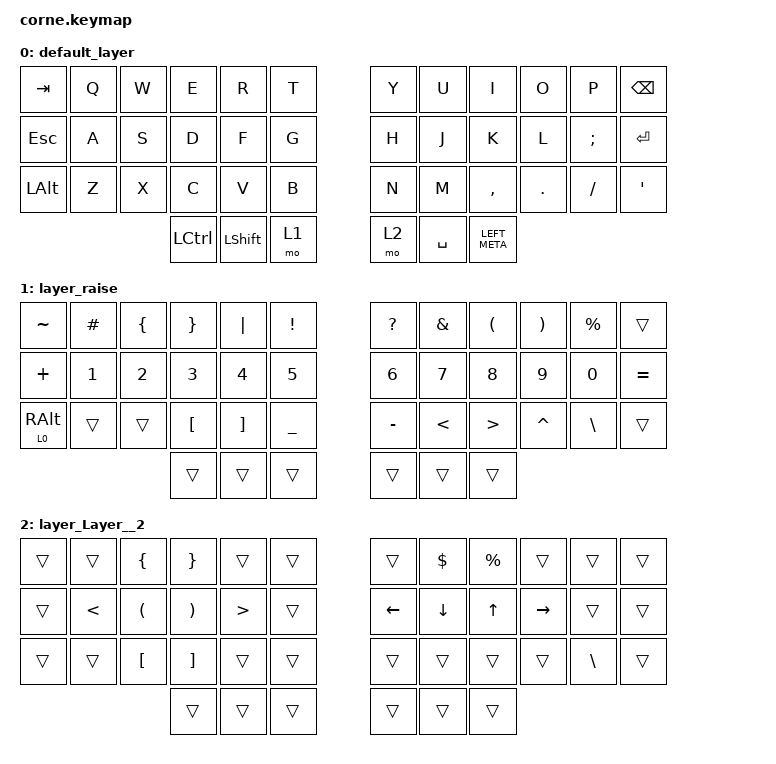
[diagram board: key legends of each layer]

/*
 * Copyright (c) 2020 The ZMK Contributors
 *
 * SPDX-License-Identifier: MIT
 */


/* THIS FILE WAS GENERATED!
 *
 * This file was generated automatically. You may or may not want to
 * edit it directly.
 */

#include <behaviors.dtsi>
#include <dt-bindings/zmk/keys.h>

/ {
    keymap {
        compatible = "zmk,keymap";


        default_layer {
            bindings = <
      &kp TAB   &kp Q   &kp W             &kp E           &kp R   &kp T            &kp Y      &kp U          &kp I    &kp O     &kp P   &kp BACKSPACE
      &kp ESC   &kp A   &kp S             &kp D           &kp F   &kp G            &kp H      &kp J          &kp K    &kp L  &kp SEMI       &kp ENTER
 &kp LEFT_ALT   &kp Z   &kp X             &kp C           &kp V   &kp B            &kp N      &kp M      &kp COMMA  &kp DOT  &kp FSLH  &kp APOSTROPHE
                               &kp LEFT_CONTROL  &kp LEFT_SHIFT   &mo 1            &mo 2  &kp SPACE  &kp LEFT_META
            >;
        };

        layer_raise {
            bindings = <
       &kp TILDE      &kp HASH      &kp LBRC      &kp RBRC      &kp PIPE  &kp EXCLAMATION            &kp QUESTION  &kp AMPERSAND          &kp LPAR      &kp RPAR    &kp PERCENT     &trans
        &kp PLUS  &kp NUMBER_1  &kp NUMBER_2  &kp NUMBER_3  &kp NUMBER_4     &kp NUMBER_5            &kp NUMBER_6   &kp NUMBER_7      &kp NUMBER_8  &kp NUMBER_9   &kp NUMBER_0  &kp EQUAL
 &lt 0 RIGHT_ALT        &trans        &trans      &kp LBKT      &kp RBKT        &kp UNDER               &kp MINUS  &kp LESS_THAN  &kp GREATER_THAN     &kp CARET  &kp BACKSLASH     &trans
                                                    &trans        &trans           &trans                  &trans         &trans            &trans
            >;
        };

        layer_Layer__2 {
            bindings = <
 &trans         &trans  &kp LBRC  &kp RBRC            &trans  &trans              &trans  &kp DOLLAR  &kp PERCENT     &trans    &trans  &trans
 &trans  &kp LESS_THAN  &kp LPAR  &kp RPAR  &kp GREATER_THAN  &trans            &kp LEFT    &kp DOWN       &kp UP  &kp RIGHT    &trans  &trans
 &trans         &trans  &kp LBKT  &kp RBKT            &trans  &trans              &trans      &trans       &trans     &trans  &kp BSLH  &trans
                                    &trans            &trans  &trans              &trans      &trans       &trans
            >;
        };

    };
};
